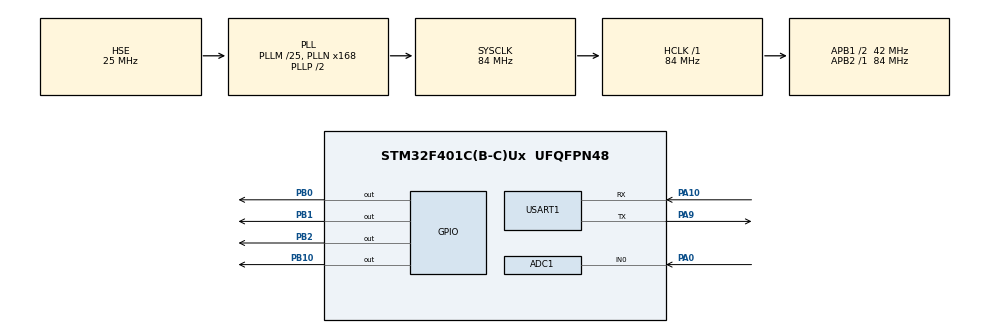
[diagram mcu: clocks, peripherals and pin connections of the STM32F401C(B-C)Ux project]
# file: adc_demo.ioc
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ADC1.Channel-0\#ChannelRegularConversion=ADC_CHANNEL_0
ADC1.ContinuousConvMode=DISABLE
ADC1.DMAContinuousRequests=ENABLE
ADC1.EOCSelection=ADC_EOC_SEQ_CONV
ADC1.ExternalTrigConv=ADC_EXTERNALTRIGCONV_T3_TRGO
ADC1.NbrOfConversionFlag=1
ADC1.Rank-0\#ChannelRegularConversion=1
ADC1.SamplingTime-0\#ChannelRegularConversion=ADC_SAMPLETIME_3CYCLES
ADC1.ScanConvMode=DISABLE
ADC1.master=1
Dma.ADC1.0.Direction=DMA_PERIPH_TO_MEMORY
Dma.ADC1.0.FIFOMode=DMA_FIFOMODE_DISABLE
Dma.ADC1.0.Instance=DMA2_Stream0
Dma.ADC1.0.MemDataAlignment=DMA_MDATAALIGN_HALFWORD
Dma.ADC1.0.MemInc=DMA_MINC_ENABLE
Dma.ADC1.0.Mode=DMA_CIRCULAR
Dma.ADC1.0.PeriphDataAlignment=DMA_PDATAALIGN_HALFWORD
Dma.ADC1.0.PeriphInc=DMA_PINC_DISABLE
Dma.ADC1.0.Priority=DMA_PRIORITY_LOW
Dma.Request0=ADC1
Mcu.Family=STM32F4
Mcu.Name=STM32F401C(B-C)Ux
Mcu.Package=UFQFPN48
NVIC.ADC_IRQn=true\:0\:0\:false\:false\:true\:true\:true\:true
NVIC.DMA2_Stream0_IRQn=true\:0\:0\:false\:false\:true\:false\:true\:true
NVIC.PriorityGroup=NVIC_PRIORITYGROUP_4
NVIC.USART1_IRQn=true\:0\:0\:false\:false\:true\:true\:true\:true
PA0-WKUP.Signal=ADCx_IN0
PA10.Mode=Asynchronous
PA10.Signal=USART1_RX
PA13.Mode=Serial_Wire
PA13.Signal=SYS_JTMS-SWDIO
PA14.Mode=Serial_Wire
PA14.Signal=SYS_JTCK-SWCLK
PA9.Mode=Asynchronous
PA9.Signal=USART1_TX
PB0.Signal=GPIO_Output
PB1.Signal=GPIO_Output
PB10.Signal=GPIO_Output
PB2.Signal=GPIO_Output
PH0\ -\ OSC_IN.Mode=HSE-External-Oscillator
PH0\ -\ OSC_IN.Signal=RCC_OSC_IN
PH1\ -\ OSC_OUT.Mode=HSE-External-Oscillator
PH1\ -\ OSC_OUT.Signal=RCC_OSC_OUT
ProjectManager.HeapSize=0x200
ProjectManager.StackSize=0x400
ProjectManager.TargetToolchain=MDK-ARM V5.32
RCC.48MHZClocksFreq_Value=42000000
RCC.AHBFreq_Value=84000000
RCC.APB1CLKDivider=RCC_HCLK_DIV2
RCC.APB1Freq_Value=42000000
RCC.APB1TimFreq_Value=84000000
RCC.APB2Freq_Value=84000000
RCC.APB2TimFreq_Value=84000000
RCC.CortexFreq_Value=84000000
RCC.HCLKFreq_Value=84000000
RCC.HSE_VALUE=25000000
RCC.HSI_VALUE=16000000
RCC.LSE_VALUE=32768
RCC.PLLM=25
RCC.PLLN=168
RCC.PLLSourceVirtual=RCC_PLLSOURCE_HSE
RCC.SYSCLKFreq_VALUE=84000000
RCC.SYSCLKSource=RCC_SYSCLKSOURCE_PLLCLK
RCC.VCOOutputFreq_Value=168000000
SH.ADCx_IN0.0=ADC1_IN0,IN0
STMicroelectronics.X-CUBE-ALGOBUILD.1.3.0.LibraryCcDSPOoLibraryJjDSPOoLibrary=true
TIM3.Period=9
TIM3.Prescaler=83
TIM3.TIM_MasterOutputTrigger=TIM_TRGO_UPDATE
USART1.VirtualMode=VM_ASYNC
VP_STMicroelectronics.X-CUBE-ALGOBUILD_VS_DSPOoLibraryJjLibrary_1.3.0_1.3.0.Mode=DSPOoLibraryJjLibrary
VP_TIM3_VS_ClockSourceINT.Mode=Internal
board=custom

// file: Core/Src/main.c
/* USER CODE BEGIN Header */
/**
  ******************************************************************************
  * @file           : main.c
  * @brief          : Main program body
  ******************************************************************************
  * @attention
  *
  * Copyright (c) 2022 STMicroelectronics.
  * All rights reserved.
  *
  * This software is licensed under terms that can be found in the LICENSE file
  * in the root directory of this software component.
  * If no LICENSE file comes with this software, it is provided AS-IS.
  *
  ******************************************************************************
  */
/* USER CODE END Header */
#include "main.h"
#include "adc.h"
#include "dma.h"
#include "tim.h"
#include "usart.h"
#include "gpio.h"

/* USER CODE BEGIN Includes */
#include "stdio.h"
#include "arm_math.h"
#include "arm_const_structs.h"

#include <string.h>
#define RXBUFFERSIZE  256     //最大接收字节数
/* USER CODE END Includes */

/* USER CODE BEGIN PV */
uint16_t temp[100]={0};
uint16_t res_buffer[FFT_LENGTH];
	/*fft变量定义*/
float fft_inputbuf[FFT_LENGTH*2];	//FFT输入数组
float fft_outputbuf[FFT_LENGTH];	//FFT输出数组
unsigned int i;
arm_cfft_radix4_instance_f32 scfft;//FFT结构体初始化
double THD;
int THD_Tx;

	/*usart变量定义*/
char RxBuffer[RXBUFFERSIZE];   //接收数据
uint8_t aRxBuffer;			//接收中断缓冲
uint8_t Uart1_Rx_Cnt = 0;		//接收缓冲计数
/* USER CODE END PV */

void SystemClock_Config(void);

int main(void)
{

  /* MCU Configuration--------------------------------------------------------*/

  /* Reset of all peripherals, Initializes the Flash interface and the Systick. */
  HAL_Init();

  /* Configure the system clock */
  SystemClock_Config();

  /* Initialize all configured peripherals */
  MX_GPIO_Init();
  MX_DMA_Init();
  MX_ADC1_Init();
  MX_USART1_UART_Init();
  MX_TIM3_Init();
  /* USER CODE BEGIN 2 */
	HAL_UART_Receive_IT(&huart1, (uint8_t *)&aRxBuffer, 1);
	HAL_GPIO_WritePin(GPIOB, GPIO_PIN_0|GPIO_PIN_1|GPIO_PIN_2|GPIO_PIN_10, GPIO_PIN_RESET);
  /* USER CODE END 2 */

  /* Infinite loop */
  /* USER CODE BEGIN WHILE */
	HAL_TIM_Base_Start(&htim3);
  HAL_ADC_Start_DMA(&hadc1, (uint32_t *)temp, 256);
	arm_cfft_radix4_init_f32(&scfft,FFT_LENGTH,0,1);//初始化scfft结构体，设定FFT相关参数
  while (1)
  {

    /* USER CODE END WHILE */

  }
}

void SystemClock_Config(void)
{
  RCC_OscInitTypeDef RCC_OscInitStruct = {0};
  RCC_ClkInitTypeDef RCC_ClkInitStruct = {0};

  /** Configure the main internal regulator output voltage
  */
  __HAL_RCC_PWR_CLK_ENABLE();
  __HAL_PWR_VOLTAGESCALING_CONFIG(PWR_REGULATOR_VOLTAGE_SCALE2);

  /** Initializes the RCC Oscillators according to the specified parameters
  * in the RCC_OscInitTypeDef structure.
  */
  RCC_OscInitStruct.OscillatorType = RCC_OSCILLATORTYPE_HSE;
  RCC_OscInitStruct.HSEState = RCC_HSE_ON;
  RCC_OscInitStruct.PLL.PLLState = RCC_PLL_ON;
  RCC_OscInitStruct.PLL.PLLSource = RCC_PLLSOURCE_HSE;
  RCC_OscInitStruct.PLL.PLLM = 25;
  RCC_OscInitStruct.PLL.PLLN = 168;
  RCC_OscInitStruct.PLL.PLLP = RCC_PLLP_DIV2;
  RCC_OscInitStruct.PLL.PLLQ = 4;
  if (HAL_RCC_OscConfig(&RCC_OscInitStruct) != HAL_OK)
  {
    Error_Handler();
  }

  /** Initializes the CPU, AHB and APB buses clocks
  */
  RCC_ClkInitStruct.ClockType = RCC_CLOCKTYPE_HCLK|RCC_CLOCKTYPE_SYSCLK
                              |RCC_CLOCKTYPE_PCLK1|RCC_CLOCKTYPE_PCLK2;
  RCC_ClkInitStruct.SYSCLKSource = RCC_SYSCLKSOURCE_PLLCLK;
  RCC_ClkInitStruct.AHBCLKDivider = RCC_SYSCLK_DIV1;
  RCC_ClkInitStruct.APB1CLKDivider = RCC_HCLK_DIV2;
  RCC_ClkInitStruct.APB2CLKDivider = RCC_HCLK_DIV1;

  if (HAL_RCC_ClockConfig(&RCC_ClkInitStruct, FLASH_LATENCY_2) != HAL_OK)
  {
    Error_Handler();
  }
}

/* USER CODE BEGIN 4 */
/*传输完成回调*/
void HAL_ADC_ConvCpltCallback(ADC_HandleTypeDef* hadc)
{
	if(hadc==(&hadc1))
	{
		HAL_ADC_Stop_DMA(&hadc1);
		for(i=0;i<FFT_LENGTH;i++)
		{
			res_buffer[i]=temp[i];
		}
//		for(i=0;i<FFT_LENGTH;i++)
//		{
//			printf("%d\r\n",res_buffer[i]);
//		}

		for(i=0;i<FFT_LENGTH;i++)
		{
			fft_inputbuf[2*i]=res_buffer[i];
			fft_inputbuf[2*i+1]=0;//虚部全部为0
		}
		arm_cfft_radix4_f32(&scfft,fft_inputbuf);	//FFT计算（基4）
		arm_cmplx_mag_f32(fft_inputbuf,fft_outputbuf,FFT_LENGTH);

		/*归一化*/
//		printf("fft_outputbuf[0]:%f\r\n",fft_outputbuf[0]*3.3/4096/1024);
//		for(i=1;i<FFT_LENGTH;i++)
//			{
//				printf("fft_outputbuf[%d]:%f\r\n",i,fft_outputbuf[i]*3.3/4096/512);
//			}
		fft_outputbuf[0]=fft_outputbuf[0]*3.3/4096/1024;
		for(i=1;i<FFT_LENGTH;i++)
			{
				fft_outputbuf[i]=fft_outputbuf[i]*3.3/4096/512;
			}
			/*THD计算*/
			THD = sqrt(fft_outputbuf[20]*fft_outputbuf[20]+fft_outputbuf[31]*fft_outputbuf[31]+fft_outputbuf[41]*fft_outputbuf[41]+fft_outputbuf[51]*fft_outputbuf[51])/fft_outputbuf[10];
			THD_Tx=THD*100000;
			printf("x0.val=%d\xff\xff\xff",THD_Tx);
			//printf("THD: %f\r\n",THD);
			//HAL_ADC_Start_DMA(&hadc1, (uint32_t *)temp, FFT_LENGTH);
	}
}

void HAL_UART_RxCpltCallback(UART_HandleTypeDef *huart)
{
  /* Prevent unused argument(s) compilation warning */
  UNUSED(huart);
  /* NOTE: This function Should not be modified, when the callback is needed,
           the HAL_UART_TxCpltCallback could be implemented in the user file
   */

	if(Uart1_Rx_Cnt >= 255)  //溢出判断
	{
		Uart1_Rx_Cnt = 0;
		memset(RxBuffer,0x00,sizeof(RxBuffer));
		//HAL_UART_Transmit(&huart1, (uint8_t *)"数据溢出", 10,0xFFFF);
	}
	else
	{
		RxBuffer[Uart1_Rx_Cnt++] = aRxBuffer;   //接收数据转存

		if(RxBuffer[Uart1_Rx_Cnt-1] == 0x01)
			{
				Mode1_Off;
				Mode2_Off;
				Mode3_Off;
				Mode4_Off;
				//HAL_Delay(200);
				HAL_ADC_Start_DMA(&hadc1, (uint32_t *)temp, FFT_LENGTH);
			}
			if(RxBuffer[Uart1_Rx_Cnt-1] == 0x02)
			{
				Mode1_On;
				Mode2_Off;
				Mode3_Off;
				Mode4_Off;
				//HAL_Delay(200);
				HAL_ADC_Start_DMA(&hadc1, (uint32_t *)temp, FFT_LENGTH);
			}
			if(RxBuffer[Uart1_Rx_Cnt-1] == 0x03)
			{
				Mode1_Off;
				Mode2_On;
				Mode3_Off;
				Mode4_Off;
				//HAL_Delay(200);
				HAL_ADC_Start_DMA(&hadc1, (uint32_t *)temp, FFT_LENGTH);
			}
			if(RxBuffer[Uart1_Rx_Cnt-1] == 0x04)
			{
				Mode1_Off;
				Mode2_Off;
				Mode3_On;
				Mode4_Off;
				//HAL_Delay(200);
				HAL_ADC_Start_DMA(&hadc1, (uint32_t *)temp, FFT_LENGTH);
			}
			if(RxBuffer[Uart1_Rx_Cnt-1] == 0x05)
			{
				Mode1_Off;
				Mode2_Off;
				Mode3_Off;
				Mode4_On;
				//HAL_Delay(200);
				HAL_ADC_Start_DMA(&hadc1, (uint32_t *)temp, FFT_LENGTH);
			}
			if(RxBuffer[Uart1_Rx_Cnt-1] == 0x06)
			{
				HAL_ADC_Start_DMA(&hadc1, (uint32_t *)temp, FFT_LENGTH);
			}

		if((RxBuffer[Uart1_Rx_Cnt-1] == 0x0A)&&(RxBuffer[Uart1_Rx_Cnt-2] == 0x0D)) //判断结束位
		{
//			HAL_UART_Transmit(&huart1, (uint8_t *)&RxBuffer, Uart1_Rx_Cnt,0xFFFF); //将收到的信息发送出去
//
//
//            while(HAL_UART_GetState(&huart1) == HAL_UART_STATE_BUSY_TX);//检测UART发送结束
			Uart1_Rx_Cnt = 0;
			memset(RxBuffer,0x00,sizeof(RxBuffer)); //清空数组
		}
	}

	HAL_UART_Receive_IT(&huart1, (uint8_t *)&aRxBuffer, 1);   //再开启接收中断
}

/* USER CODE END 4 */

void Error_Handler(void)
{
  __disable_irq();
  while (1)
  {
  }
}
